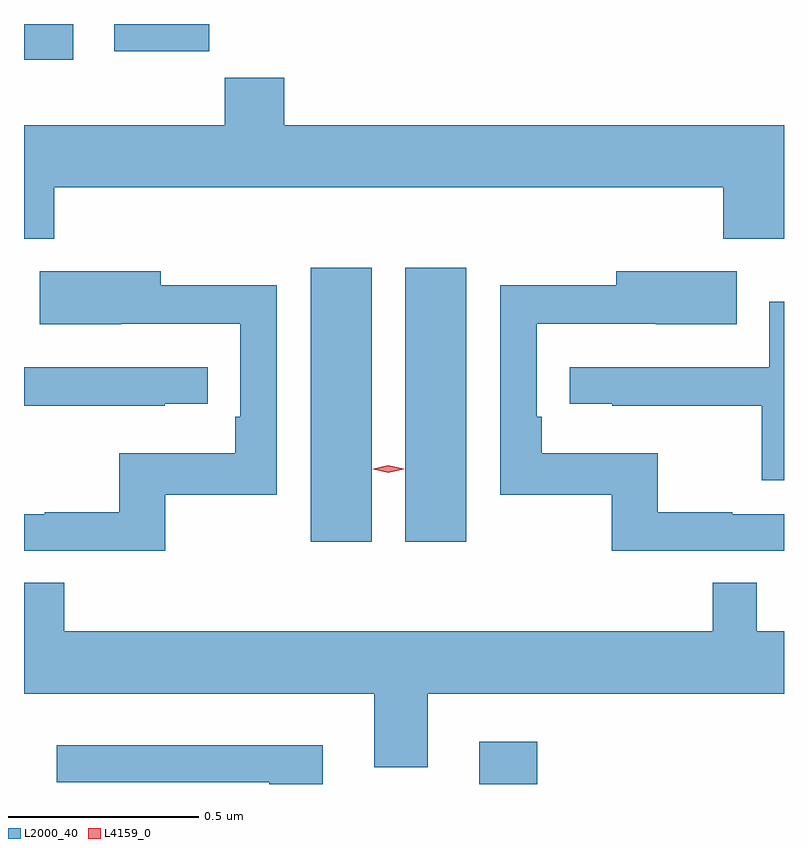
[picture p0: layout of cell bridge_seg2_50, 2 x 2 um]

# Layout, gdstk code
import gdstk
lib = gdstk.Library(unit=1e-6, precision=1e-09)
def R(c, l, rs):  # rectangles x0, y0, x1, y1
    for r in rs: c.add(gdstk.rectangle(r[:2], r[2:], *l))
def P(c, l, *ps):  # polygons
    for p in ps: c.add(gdstk.Polygon(p, *l))
L2000_40 = (2000, 40)
L4159_0 = (4159, 0)

bridge_seg2_50 = lib.new_cell('bridge_seg2_50')
R(bridge_seg2_50, L2000_40, [(1107.941,658.054,1108.094,658.165), (1107.497,658.692,1107.658,659.413), (1107.746,658.692,1107.907,659.413), (1106.743,659.96,1106.872,660.054), (1106.981,659.982,1107.23,660.054)])
P(bridge_seg2_50, L2000_40, [(1106.822,659.624),(1108.583,659.624),(1108.583,659.489),(1108.743,659.489),(1108.743,659.788),(1107.428,659.788),(1107.428,659.912),(1107.271,659.912),(1107.271,659.788),(1106.743,659.788),(1106.743,659.489),(1106.822,659.489)],
  [(1108.743,658.764),(1108.607,658.764),(1108.607,658.769),(1108.411,658.769),(1108.411,658.924),(1108.106,658.924),(1108.106,659.02),(1108.092,659.02),(1108.092,659.265),(1108.405,659.265),(1108.405,659.264),(1108.619,659.264),(1108.619,659.404),(1108.301,659.404),(1108.301,659.366),(1107.996,659.366),(1107.996,658.815),(1108.29,658.815),(1108.29,658.668),(1108.743,658.668)],
  [(1107.115,658.815),(1107.408,658.815),(1107.408,659.366),(1107.103,659.366),(1107.103,659.404),(1106.785,659.404),(1106.785,659.264),(1106.999,659.264),(1106.999,659.265),(1107.312,659.265),(1107.312,659.02),(1107.299,659.02),(1107.299,658.924),(1106.994,658.924),(1106.994,658.769),(1106.797,658.769),(1106.797,658.764),(1106.743,658.764),(1106.743,658.668),(1107.115,658.668)],
  [(1108.743,659.323),(1108.704,659.323),(1108.704,659.151),(1108.179,659.151),(1108.179,659.055),(1108.291,659.055),(1108.291,659.05),(1108.684,659.05),(1108.684,658.854),(1108.743,658.854)],
  [(1107.113,659.055),(1107.226,659.055),(1107.226,659.151),(1106.743,659.151),(1106.743,659.05),(1107.113,659.05)],
  [(1107.805,658.292),(1108.743,658.292),(1108.743,658.456),(1108.671,658.456),(1108.671,658.583),(1108.555,658.583),(1108.555,658.456),(1106.849,658.456),(1106.849,658.583),(1106.743,658.583),(1106.743,658.292),(1107.665,658.292),(1107.665,658.098),(1107.805,658.098)],
  [(1107.529,658.156),(1106.829,658.156),(1106.829,658.059),(1107.389,658.059),(1107.389,658.054),(1107.529,658.054)])
P(bridge_seg2_50, L4159_0, [(1107.702,658.873),(1107.662,658.882),(1107.662,658.883),(1107.662,658.883),(1107.702,658.893),(1107.742,658.883),(1107.742,658.883),(1107.742,658.882)])

lib.write_gds('bridge_seg2_50.gds')
